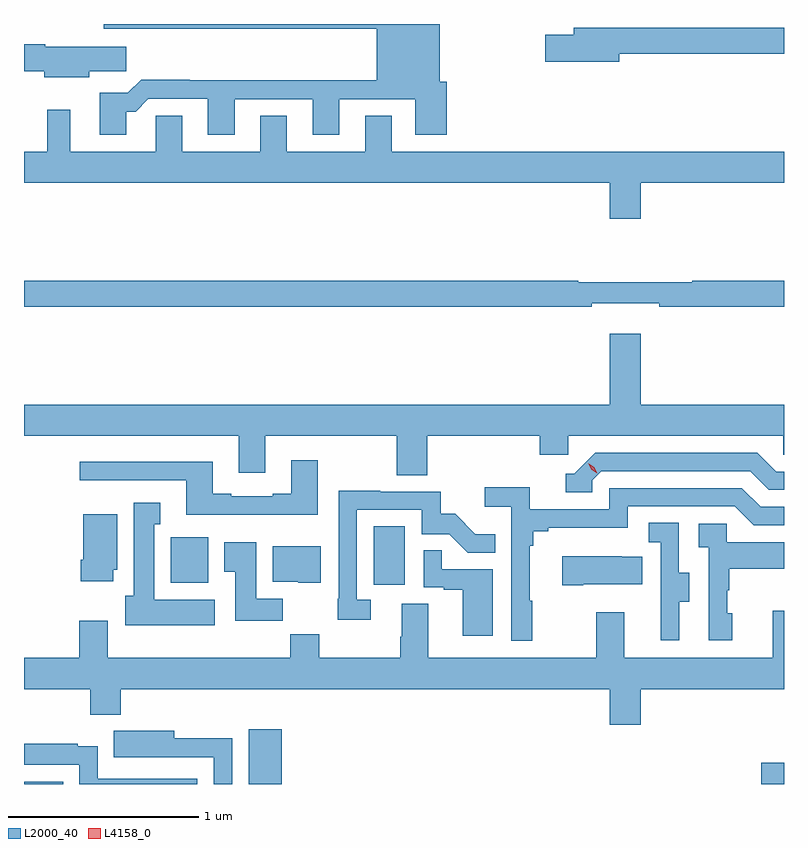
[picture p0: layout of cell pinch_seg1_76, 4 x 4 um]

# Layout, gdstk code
import gdstk
lib = gdstk.Library(unit=1e-6, precision=1e-09)
def R(c, l, rs):  # rectangles x0, y0, x1, y1
    for r in rs: c.add(gdstk.rectangle(r[:2], r[2:], *l))
def P(c, l, *ps):  # polygons
    for p in ps: c.add(gdstk.Polygon(p, *l))
L2000_40 = (2000, 40)
L4158_0 = (4158, 0)

pinch_seg1_76 = lib.new_cell('pinch_seg1_76')
R(pinch_seg1_76, L2000_40, [(1025.061,579.204,1025.267,579.216), (1026.245,579.204,1026.418,579.493), (1028.942,579.204,1029.061,579.316), (1026.902,580.254,1027.066,580.561), (1025.834,580.262,1026.031,580.504)])
P(pinch_seg1_76, L2000_40, [(1025.599,582.743),(1025.648,582.743),(1025.715,582.81),(1026.029,582.81),(1026.029,582.621),(1026.169,582.621),(1026.169,582.807),(1026.581,582.807),(1026.581,582.621),(1026.721,582.621),(1026.721,582.807),(1027.121,582.807),(1027.121,582.621),(1027.286,582.621),(1027.286,582.9),(1027.249,582.9),(1027.249,583.204),(1025.48,583.204),(1025.48,583.178),(1026.917,583.178),(1026.917,582.908),(1025.933,582.908),(1025.933,582.911),(1025.678,582.911),(1025.608,582.841),(1025.459,582.841),(1025.459,582.621),(1025.599,582.621)],
  [(1028.194,583.048),(1029.061,583.048),(1029.061,583.184),(1027.955,583.184),(1027.955,583.148),(1027.805,583.148),(1027.805,583.006),(1028.194,583.006)],
  [(1025.404,582.955),(1025.599,582.955),(1025.599,583.084),(1025.172,583.084),(1025.172,583.097),(1025.061,583.097),(1025.061,582.955),(1025.168,582.955),(1025.168,582.923),(1025.404,582.923)],
  [(1028.308,582.368),(1029.061,582.368),(1029.061,582.532),(1026.997,582.532),(1026.997,582.722),(1026.857,582.722),(1026.857,582.532),(1026.445,582.532),(1026.445,582.722),(1026.305,582.722),(1026.305,582.532),(1025.893,582.532),(1025.893,582.722),(1025.754,582.722),(1025.754,582.532),(1025.305,582.532),(1025.305,582.754),(1025.184,582.754),(1025.184,582.532),(1025.061,582.532),(1025.061,582.368),(1028.144,582.368),(1028.144,582.18),(1028.308,582.18)],
  [(1028.048,581.735),(1028.404,581.735),(1028.404,581.716),(1029.061,581.716),(1029.061,581.852),(1028.578,581.852),(1028.578,581.845),(1027.978,581.845),(1027.978,581.852),(1025.061,581.852),(1025.061,581.716),(1028.048,581.716)],
  [(1027.184,581.036),(1027.775,581.036),(1027.775,580.938),(1027.926,580.938),(1027.926,581.036),(1029.057,581.036),(1029.057,580.938),(1029.061,580.938),(1029.061,581.2),(1028.308,581.2),(1028.308,581.575),(1028.144,581.575),(1028.144,581.2),(1025.061,581.2),(1025.061,581.036),(1026.191,581.036),(1026.191,580.842),(1026.331,580.842),(1026.331,581.036),(1027.024,581.036),(1027.024,580.828),(1027.184,580.828)],
  [(1028.052,580.803),(1028.1,580.851),(1028.883,580.851),(1028.982,580.752),(1029.061,580.752),(1029.061,580.848),(1029.019,580.848),(1028.92,580.947),(1028.067,580.947),(1027.956,580.836),(1027.913,580.836),(1027.913,580.74),(1028.052,580.74)],
  [(1026.607,580.909),(1026.467,580.909),(1026.467,580.732),(1026.371,580.732),(1026.371,580.719),(1026.151,580.719),(1026.151,580.732),(1026.055,580.732),(1026.055,580.9),(1025.355,580.9),(1025.355,580.803),(1025.915,580.803),(1025.915,580.622),(1026.607,580.622)],
  [(1027.735,580.169),(1027.723,580.169),(1027.723,580.457),(1027.742,580.457),(1027.742,580.534),(1027.819,580.534),(1027.819,580.553),(1028.238,580.553),(1028.238,580.665),(1028.802,580.665),(1028.901,580.566),(1029.061,580.566),(1029.061,580.662),(1028.938,580.662),(1028.839,580.761),(1028.142,580.761),(1028.142,580.65),(1027.724,580.65),(1027.724,580.766),(1027.485,580.766),(1027.485,580.664),(1027.626,580.664),(1027.626,579.957),(1027.735,579.957)],
  [(1026.886,580.173),(1026.813,580.173),(1026.813,580.647),(1027.155,580.647),(1027.155,580.518),(1027.299,580.518),(1027.397,580.42),(1027.541,580.42),(1027.541,580.519),(1027.437,580.519),(1027.33,580.626),(1027.254,580.626),(1027.254,580.743),(1026.935,580.743),(1026.935,580.748),(1026.717,580.748),(1026.717,580.18),(1026.712,580.18),(1026.712,580.068),(1026.886,580.068)],
  [(1026.064,580.174),(1025.746,580.174),(1025.746,580.571),(1025.779,580.571),(1025.779,580.684),(1025.639,580.684),(1025.639,580.194),(1025.594,580.194),(1025.594,580.04),(1026.064,580.04)],
  [(1025.53,580.332),(1025.551,580.332),(1025.551,580.624),(1025.372,580.624),(1025.372,580.384),(1025.36,580.384),(1025.36,580.272),(1025.53,580.272)],
  [(1028.509,580.162),(1028.563,580.162),(1028.563,580.317),(1028.508,580.317),(1028.508,580.58),(1028.349,580.58),(1028.349,580.477),(1028.412,580.477),(1028.412,580.173),(1028.411,580.173),(1028.411,579.96),(1028.509,579.96)],
  [(1028.788,580.104),(1028.763,580.104),(1028.763,580.223),(1028.773,580.223),(1028.773,580.337),(1029.061,580.337),(1029.061,580.477),(1028.76,580.477),(1028.76,580.575),(1028.613,580.575),(1028.613,580.451),(1028.664,580.451),(1028.664,579.96),(1028.788,579.96)],
  [(1026.422,580.18),(1026.283,580.18),(1026.283,580.477),(1026.116,580.477),(1026.116,580.321),(1026.173,580.321),(1026.173,580.062),(1026.422,580.062)],
  [(1026.622,580.456),(1026.371,580.456),(1026.371,580.268),(1026.504,580.268),(1026.504,580.262),(1026.622,580.262)],
  [(1027.528,580.335),(1027.259,580.335),(1027.259,580.433),(1027.164,580.433),(1027.164,580.239),(1027.271,580.239),(1027.271,580.227),(1027.37,580.227),(1027.37,579.984),(1027.528,579.984)],
  [(1028.005,580.256),(1028.315,580.256),(1028.315,580.399),(1028.207,580.399),(1028.207,580.402),(1027.893,580.402),(1027.893,580.249),(1028.005,580.249)],
  [(1028.308,579.704),(1029.061,579.704),(1029.061,580.117),(1029.002,580.117),(1029.002,579.868),(1028.221,579.868),(1028.221,580.108),(1028.074,580.108),(1028.074,579.868),(1027.189,579.868),(1027.189,580.154),(1027.049,580.154),(1027.049,579.98),(1027.042,579.98),(1027.042,579.868),(1026.615,579.868),(1026.615,579.992),(1026.463,579.992),(1026.463,579.868),(1025.503,579.868),(1025.503,580.063),(1025.351,580.063),(1025.351,579.868),(1025.061,579.868),(1025.061,579.704),(1025.41,579.704),(1025.41,579.569),(1025.57,579.569),(1025.57,579.704),(1028.144,579.704),(1028.144,579.516),(1028.308,579.516)],
  [(1026.156,579.446),(1025.851,579.446),(1025.851,579.484),(1025.533,579.484),(1025.533,579.344),(1025.747,579.344),(1025.747,579.345),(1026.06,579.345),(1026.06,579.204),(1026.156,579.204)],
  [(1025.974,579.231),(1025.448,579.231),(1025.448,579.403),(1025.345,579.403),(1025.345,579.415),(1025.061,579.415),(1025.061,579.306),(1025.352,579.306),(1025.352,579.204),(1025.974,579.204)])
P(pinch_seg1_76, L4158_0, [(1028.078,580.839),(1028.048,580.858),(1028.031,580.891),(1028.031,580.891),(1028.032,580.891),(1028.062,580.872),(1028.078,580.839),(1028.078,580.839)])

lib.write_gds('pinch_seg1_76.gds')
